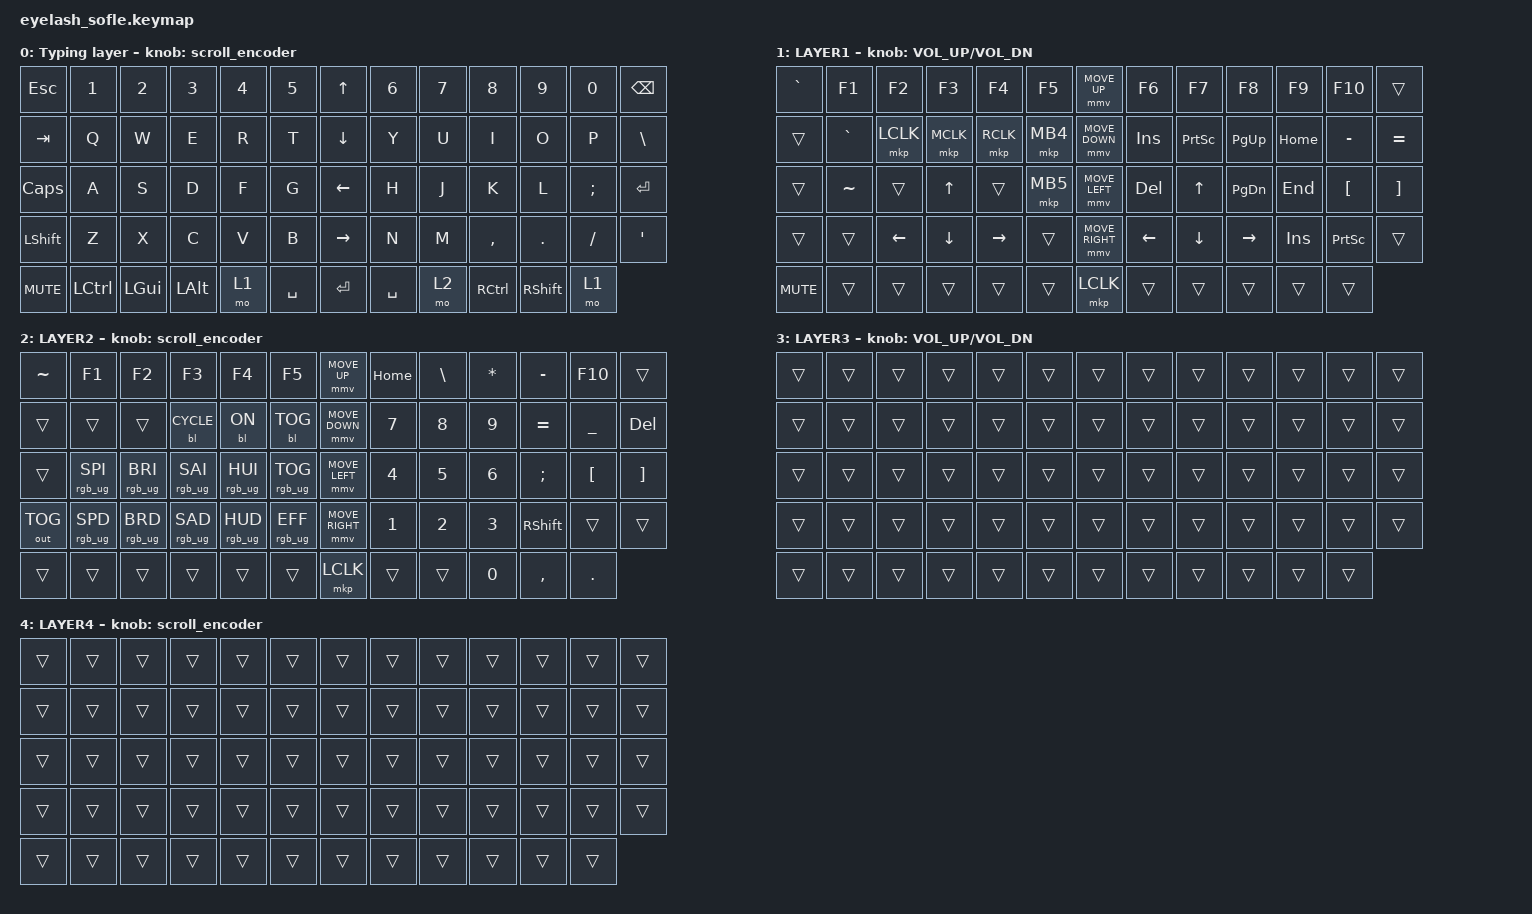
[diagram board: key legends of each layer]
#define ZMK_POINTING_DEFAULT_MOVE_VAL 1200  // 600
#define ZMK_POINTING_DEFAULT_SCRL_VAL 25   // 10

#include <input/processors.dtsi>
#include <zephyr/dt-bindings/input/input-event-codes.h>
#include <behaviors.dtsi>
#include <dt-bindings/zmk/backlight.h>
#include <dt-bindings/zmk/keys.h>
#include <dt-bindings/zmk/outputs.h>
#include <dt-bindings/zmk/pointing.h>
#include <dt-bindings/zmk/rgb.h>

&mmv_input_listener { input-processors = <&zip_xy_scaler 2 1>; };

&msc_input_listener { input-processors = <&zip_scroll_scaler 2 1>; };

&msc {
    acceleration-exponent = <1>;      // 0
    time-to-max-speed-ms = <100>;       // 300
    delay-ms = <0>;                   // 0
};

&mmv {
    time-to-max-speed-ms = <500>;
    acceleration-exponent = <1>;
    trigger-period-ms = <16>;
};

&soft_off { hold-time-ms = <2000>; };

/ {
    scroll_encoder: scroll_encoder {
        compatible = "zmk,behavior-sensor-rotate";
        #sensor-binding-cells = <0>;
        bindings = <&msc SCRL_DOWN>, <&msc SCRL_UP>;

        tap-ms = <100>;
    };

    behaviors {
    };

    combos {
        compatible = "zmk,combos";

        softoff {
            bindings = <&soft_off>;
            key-positions = <14 28 40>;
        };
    };

    macros {
        SHIFT_MCLK: SHIFT_MCLK {
            compatible = "zmk,behavior-macro";
            #binding-cells = <0>;
            bindings =
                <&macro_press>,
                <&kp LEFT_SHIFT>,
                <&macro_press>,
                <&mkp MB3>,
                <&macro_pause_for_release>,
                <&macro_release>,
                <&kp LEFT_SHIFT &mkp MB3>;

            label = "SHIFT_MCLK";
        };
    };

    keymap {
        compatible = "zmk,keymap";

        layer0 {
            bindings = <
&kp ESC     &kp N1     &kp N2        &kp N3        &kp N4  &kp N5       &kp UP_ARROW     &kp N6     &kp N7  &kp N8             &kp N9           &kp N0    &kp BACKSPACE
&kp TAB     &kp Q      &kp W         &kp E         &kp R   &kp T        &kp DOWN_ARROW   &kp Y      &kp U   &kp I              &kp O            &kp P     &kp BSLH
&kp CAPS    &kp A      &kp S         &kp D         &kp F   &kp G        &kp LEFT_ARROW   &kp H      &kp J   &kp K              &kp L            &kp SEMI  &kp ENTER
&kp LSHFT   &kp Z      &kp X         &kp C         &kp V   &kp B        &kp RIGHT_ARROW  &kp N      &kp M   &kp COMMA          &kp DOT          &kp FSLH  &kp APOSTROPHE
&kp C_MUTE  &kp LCTRL  &kp LEFT_GUI  &kp LEFT_ALT  &mo 1   &kp SPACE    &kp ENTER        &kp SPACE  &mo 2   &kp RIGHT_CONTROL  &kp RIGHT_SHIFT  &mo 1
            >;

            sensor-bindings = <&scroll_encoder>;
            display-name = "Typing layer";
        };

        layer_1 {
            bindings = <
&kp GRAVE   &kp F1     &kp F2     &kp F3     &kp F4     &kp F5      &mmv MOVE_UP     &kp F6      &kp F7           &kp F8         &kp F9    &kp F10           &trans
&trans      &kp GRAVE  &mkp LCLK  &mkp MCLK  &mkp RCLK  &mkp MB4    &mmv MOVE_DOWN   &kp INSERT  &kp PRINTSCREEN  &kp PG_UP      &kp HOME  &kp MINUS         &kp EQUAL
&trans      &kp TILDE  &trans     &kp UP     &trans     &mkp MB5    &mmv MOVE_LEFT   &kp DELETE  &kp UP_ARROW     &kp PAGE_DOWN  &kp END   &kp LEFT_BRACKET  &kp RIGHT_BRACKET
&trans      &trans     &kp LEFT   &kp DOWN   &kp RIGHT  &trans      &mmv MOVE_RIGHT  &kp LEFT    &kp DOWN         &kp RIGHT      &kp INS   &kp PRINTSCREEN   &trans
&kp C_MUTE  &trans     &trans     &trans     &trans     &trans      &mkp LCLK        &trans      &trans           &trans         &trans    &trans
            >;

            sensor-bindings = <&inc_dec_kp C_VOLUME_UP C_VOL_DN>;
            display-name = "LAYER1";
        };

        layer_2 {
            bindings = <
&kp TILDE     &kp F1           &kp F2           &kp F3           &kp F4           &kp F5             &mmv MOVE_UP     &kp HOME  &kp BSLH  &kp STAR  &kp MINUS  &kp F10    &trans
&trans        &trans           &trans           &bl BL_CYCLE     &bl BL_ON        &bl BL_TOG         &mmv MOVE_DOWN   &kp N7    &kp N8    &kp N9    &kp EQUAL  &kp UNDER  &kp DEL
&trans        &rgb_ug RGB_SPI  &rgb_ug RGB_BRI  &rgb_ug RGB_SAI  &rgb_ug RGB_HUI  &rgb_ug RGB_TOG    &mmv MOVE_LEFT   &kp N4    &kp N5    &kp N6    &kp SEMI   &kp LBKT   &kp RBKT
&out OUT_TOG  &rgb_ug RGB_SPD  &rgb_ug RGB_BRD  &rgb_ug RGB_SAD  &rgb_ug RGB_HUD  &rgb_ug RGB_EFF    &mmv MOVE_RIGHT  &kp N1    &kp N2    &kp N3    &kp RSHFT  &trans     &trans
&trans        &trans           &trans           &trans           &trans           &trans             &mkp LCLK        &trans    &trans    &kp N0    &kp COMMA  &kp DOT
            >;

            display-name = "LAYER2";
            sensor-bindings = <&scroll_encoder>;
        };

        layer_3 {
            bindings = <
&trans  &trans  &trans  &trans  &trans  &trans    &trans  &trans  &trans  &trans  &trans  &trans  &trans
&trans  &trans  &trans  &trans  &trans  &trans    &trans  &trans  &trans  &trans  &trans  &trans  &trans
&trans  &trans  &trans  &trans  &trans  &trans    &trans  &trans  &trans  &trans  &trans  &trans  &trans
&trans  &trans  &trans  &trans  &trans  &trans    &trans  &trans  &trans  &trans  &trans  &trans  &trans
&trans  &trans  &trans  &trans  &trans  &trans    &trans  &trans  &trans  &trans  &trans  &trans
            >;

            display-name = "LAYER3";
            sensor-bindings = <&inc_dec_kp C_VOLUME_UP C_VOL_DN>;
        };

        layer_4 {
            bindings = <
&trans  &trans  &trans  &trans  &trans  &trans    &trans  &trans  &trans  &trans  &trans  &trans  &trans
&trans  &trans  &trans  &trans  &trans  &trans    &trans  &trans  &trans  &trans  &trans  &trans  &trans
&trans  &trans  &trans  &trans  &trans  &trans    &trans  &trans  &trans  &trans  &trans  &trans  &trans
&trans  &trans  &trans  &trans  &trans  &trans    &trans  &trans  &trans  &trans  &trans  &trans  &trans
&trans  &trans  &trans  &trans  &trans  &trans    &trans  &trans  &trans  &trans  &trans  &trans
            >;

            display-name = "LAYER4";
            sensor-bindings = <&scroll_encoder>;
        };
    };
};
